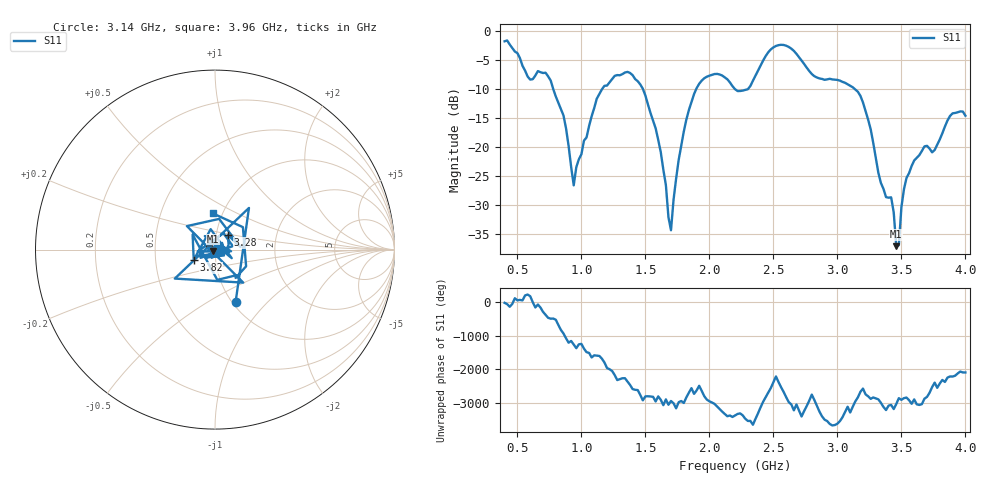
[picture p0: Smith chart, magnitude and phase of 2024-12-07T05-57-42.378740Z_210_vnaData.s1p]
!Created with skrf (http://scikit-rf.org).
# Hz S RI R 50.0
!freq ReS11 ImS11
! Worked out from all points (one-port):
!   181 points, 400 MHz to 4 GHz, reference 50 ohm
!   lowest |S11| = -37.1 dB at 3.46 GHz (marker M1), VSWR 1.03, Z = 48.8 - j0.742 ohm
!   |S11| at or under -10 dB: 779.9 MHz to 1.162 GHz (381.9 MHz wide, 39.3 % of centre); 1.481 GHz to 1.897 GHz (416.1 MHz wide, 24.6 % of centre); 3.136 GHz to end of sweep (the widest 3 of 4)
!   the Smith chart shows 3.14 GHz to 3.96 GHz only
!   S11 on the Smith chart (normalised r, x): 3.14 GHz: 1.04, -0.67; 3.28 GHz: 1.14, +0.19; 3.82 GHz: 0.78, -0.09; 3.96 GHz: 0.90, +0.38
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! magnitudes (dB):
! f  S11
! 400 MHz  -1.8
! 600 MHz  -8.4
! 720 MHz  -7.2
! 860 MHz  -14.6
! 940 MHz  -26.6
! 1.12 GHz  -11.7
! 1.3 GHz  -7.6
! 1.5 GHz  -11.1
! 1.62 GHz  -20.9
! 1.7 GHz  -34.3
! 1.76 GHz  -22.2
! 1.92 GHz  -9.1
! 2.2 GHz  -10.0
! 2.3 GHz  -10.0
! 2.5 GHz  -2.8
! 2.66 GHz  -3.4
! 3.1 GHz  -9.4
! 3.14 GHz  -10.1
! 3.28 GHz  -19.3
! 3.34 GHz  -26.2
! 3.42 GHz  -28.7
! 3.46 GHz  -37.1
! 3.48 GHz  -36.9
! 3.52 GHz  -27.3
! 3.56 GHz  -24.5
! 3.82 GHz  -17.6
! 3.96 GHz  -13.9
! 4 GHz  -14.6
